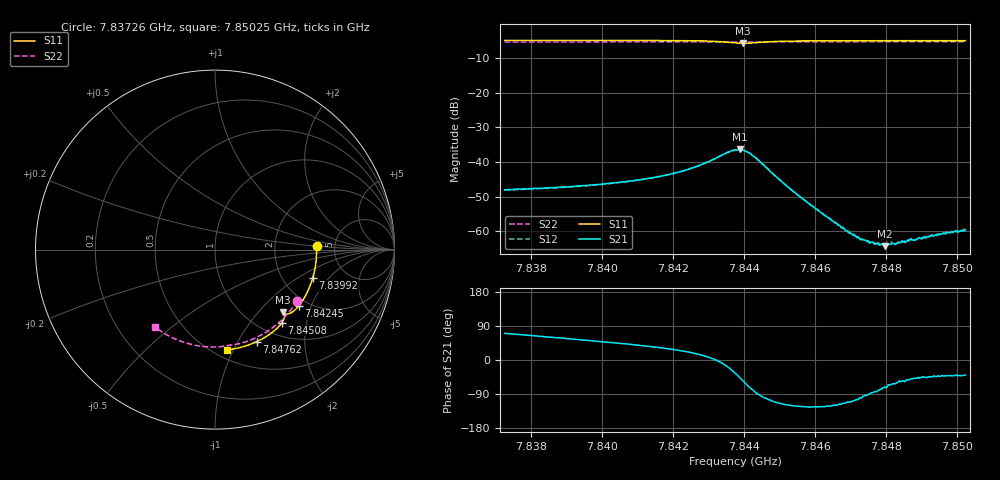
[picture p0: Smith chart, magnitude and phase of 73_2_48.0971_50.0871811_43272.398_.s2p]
#  HZ  S  RI  R  50.00
! Rohde & Schwarz Vector Network Analyzer
! Rohde-Schwarz,ZNB20-2Port,1311601062101988,3.16
! Created: UTC 12/23/2023, 3:42:00 AM
! freq[Hz]  re:S11  im:S11  re:S21  im:S21  re:S12  im:S12  re:S22  im:S22
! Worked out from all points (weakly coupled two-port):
!   401 points, 7.83726 GHz to 7.85025 GHz, reference 50 ohm
!   highest |S21| = -36.40 dB at 7.84388 GHz (marker M1); lowest = -64.3 dB at 7.84797 GHz (marker M2)
!   lowest |S11| = -5.8 dB at 7.84398 GHz (marker M3), VSWR 3.12, Z = 72.3 - j68.7 ohm
!   |S11| at or under -10 dB: nowhere
!   |S22| runs from -5.4 to -5.3 dB; largest |S21 - S12| = 0.00032
!   S11 on the Smith chart (normalised r, x): 7.83726 GHz: 3.60, +0.19; 7.83992 GHz: 2.92, -1.36; 7.84245 GHz: 1.78, -1.64; 7.84508 GHz: 1.25, -1.46; 7.84762 GHz: 0.80, -1.21; 7.85025 GHz: 0.58, -0.94
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7.837256e9  0.5661 0.0182  0.00132 0.00374  0.00134 0.00367  0.4578 -0.2856
7.839432e9  0.553 -0.126  0.00273 0.00363  0.0027 0.00357  0.3607 -0.4026
7.839919e9  0.5446 -0.1577  0.00313 0.00357  0.00309 0.00352  0.3346 -0.4248
7.841608e9  0.5001 -0.2643  0.00519 0.00333  0.00514 0.00334  0.2345 -0.4878
7.842452e9  0.4657 -0.315  0.00736 0.00283  0.00736 0.00283  0.1797 -0.5108
7.842907e9  0.4412 -0.34  0.00942 0.00164  0.00944 0.00179  0.1489 -0.5203
7.843264e9  0.4169 -0.3557  0.0118 -0.00046  0.0118 -0.000477  0.1245 -0.526
7.843752e9  0.3819 -0.3565  0.0123 -0.00844  0.0124 -0.00816  0.0919 -0.5313
7.843881e9  0.3783 -0.3521  0.0105 -0.0109  0.0106 -0.0107  0.0838 -0.5325
7.843979e9  0.3785 -0.3493  0.00841 -0.0121  0.00846 -0.0121  0.0776 -0.5334
7.844109e9  0.3815 -0.3483  0.00521 -0.0128  0.00548 -0.0128  0.0694 -0.535
7.844336e9  0.3878 -0.3563  0.000901 -0.0114  0.000888 -0.0115  0.0546 -0.5377
7.845083e9  0.3736 -0.4067  -0.00223 -0.00462  -0.0022 -0.00462  0.00231 -0.5427
7.845928e9  0.3317 -0.451  -0.00128 -0.0019  -0.0013 -0.00194  -0.0573 -0.5405
7.846999e9  0.2706 -0.493  -0.000338 -0.000868  -0.000365 -0.000891  -0.1316 -0.5282
7.847324e9  0.2511 -0.5037  -0.000134 -0.000746  -0.000121 -0.000763  -0.1536 -0.5227
7.847616e9  0.2334 -0.5124  4.01e-05 -0.000693  1.69e-05 -0.00069  -0.1732 -0.5165
7.847974e9  0.2113 -0.5219  0.000199 -0.000576  0.000213 -0.000605  -0.1968 -0.5083
7.848104e9  0.2034 -0.5251  0.000269 -0.00059  0.000254 -0.000616  -0.2054 -0.5048
7.848591e9  0.1725 -0.536  0.000441 -0.000565  0.000464 -0.000555  -0.2367 -0.4913
7.849598e9  0.1073 -0.5525  0.000701 -0.000604  0.000685 -0.00062  -0.2984 -0.457
7.850247e9  0.0647 -0.5589  0.000803 -0.000661  0.000789 -0.000672  -0.3358 -0.4309
